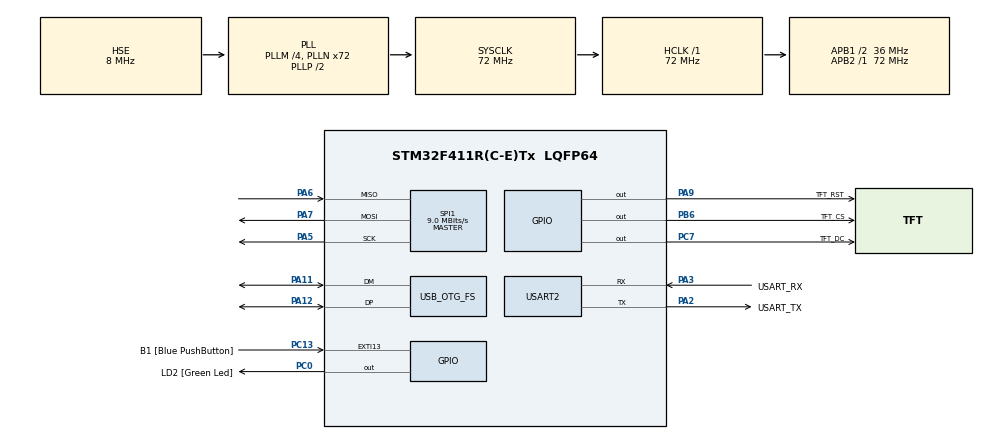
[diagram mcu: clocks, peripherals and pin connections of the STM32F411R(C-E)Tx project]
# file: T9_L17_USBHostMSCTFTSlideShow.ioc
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FATFS._USE_FIND=1
FATFS._USE_LFN=1
Mcu.Family=STM32F4
Mcu.Name=STM32F411R(C-E)Tx
Mcu.Package=LQFP64
NVIC.OTG_FS_IRQn=true\:0\:0\:false\:false\:true\:false\:true
NVIC.PriorityGroup=NVIC_PRIORITYGROUP_0
PA11.Mode=Host_Only
PA11.Signal=USB_OTG_FS_DM
PA12.Mode=Host_Only
PA12.Signal=USB_OTG_FS_DP
PA13.GPIO_Label=TMS
PA13.Mode=Serial_Wire
PA13.Signal=SYS_JTMS-SWDIO
PA14.GPIO_Label=TCK
PA14.Mode=Serial_Wire
PA14.Signal=SYS_JTCK-SWCLK
PA2.GPIO_Label=USART_TX
PA2.Mode=Asynchronous
PA2.Signal=USART2_TX
PA3.GPIO_Label=USART_RX
PA3.Mode=Asynchronous
PA3.Signal=USART2_RX
PA5.Mode=Full_Duplex_Master
PA5.Signal=SPI1_SCK
PA6.Mode=Full_Duplex_Master
PA6.Signal=SPI1_MISO
PA7.Mode=Full_Duplex_Master
PA7.Signal=SPI1_MOSI
PA9.GPIO_Label=TFT_RST
PA9.Signal=GPIO_Output
PB3.GPIO_Label=SWO
PB3.Signal=SYS_JTDO-SWO
PB6.GPIO_Label=TFT_CS
PB6.Signal=GPIO_Output
PC0.GPIO_Label=LD2 [Green Led]
PC0.Signal=GPIO_Output
PC13-ANTI_TAMP.GPIO_Label=B1 [Blue PushButton]
PC13-ANTI_TAMP.GPIO_ModeDefaultEXTI=GPIO_MODE_IT_FALLING
PC13-ANTI_TAMP.Signal=GPXTI13
PC14-OSC32_IN.Mode=LSE-External-Oscillator
PC14-OSC32_IN.Signal=RCC_OSC32_IN
PC15-OSC32_OUT.Mode=LSE-External-Oscillator
PC15-OSC32_OUT.Signal=RCC_OSC32_OUT
PC7.GPIO_Label=TFT_DC
PC7.Signal=GPIO_Output
PH0\ -\ OSC_IN.Mode=HSE-External-Clock-Source
PH0\ -\ OSC_IN.Signal=RCC_OSC_IN
PH1\ -\ OSC_OUT.Mode=HSE-External-Clock-Source
PH1\ -\ OSC_OUT.Signal=RCC_OSC_OUT
ProjectManager.HeapSize=0x800
ProjectManager.StackSize=0x1000
ProjectManager.TargetToolchain=STM32CubeIDE
RCC.48MHZClocksFreq_Value=48000000
RCC.AHBFreq_Value=72000000
RCC.APB1CLKDivider=RCC_HCLK_DIV2
RCC.APB1Freq_Value=36000000
RCC.APB1TimFreq_Value=72000000
RCC.APB2Freq_Value=72000000
RCC.APB2TimFreq_Value=72000000
RCC.CortexFreq_Value=72000000
RCC.FLatency-AdvancedSettings=FLASH_LATENCY_2
RCC.HCLKFreq_Value=72000000
RCC.HSE_VALUE=8000000
RCC.HSI_VALUE=16000000
RCC.PLLM=4
RCC.PLLN=72
RCC.PLLQ=3
RCC.SYSCLKFreq_VALUE=72000000
RCC.SYSCLKSource=RCC_SYSCLKSOURCE_PLLCLK
RCC.VCOOutputFreq_Value=144000000
SPI1.BaudRatePrescaler=SPI_BAUDRATEPRESCALER_8
SPI1.CalculateBaudRate=9.0 MBits/s
SPI1.Direction=SPI_DIRECTION_2LINES
SPI1.Mode=SPI_MODE_MASTER
SPI1.VirtualType=VM_MASTER
USART2.VirtualMode=VM_ASYNC
USB_HOST.USBH_HandleTypeDef=hUsbHostFS
USB_HOST.VirtualModeFS=Msc
USB_OTG_FS.VirtualMode=Host_Only
USB_OTG_FS.phy_itface=HCD_PHY_EMBEDDED
VP_FATFS_VS_USB.Mode=USB
VP_LIBJPEG_VS_JPEGLIB.Mode=Enabled
VP_USB_HOST_VS_USB_HOST_MSC_FS.Mode=MSC_FS
board=NUCLEO-F411RE

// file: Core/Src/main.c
/* USER CODE BEGIN Header */
/**
  ******************************************************************************
  * @file           : main.c
  * @brief          : Main program body
  ******************************************************************************
  * @attention
  *
  * Copyright (c) 2022 STMicroelectronics.
  * All rights reserved.
  *
  * This software is licensed under terms that can be found in the LICENSE file
  * in the root directory of this software component.
  * If no LICENSE file comes with this software, it is provided AS-IS.
  *
  ******************************************************************************
  */
/* USER CODE END Header */
#include "main.h"
#include "fatfs.h"
#include "libjpeg.h"
#include "spi.h"
#include "usart.h"
#include "usb_host.h"
#include "gpio.h"

/* USER CODE BEGIN Includes */
#include "stdio.h"
#include "string.h"

#include "TFT_ILI9341.h"
#include "GFX_Color.h"
#include "GFX_EnhancedFonts.h"
/* USER CODE END Includes */

/* USER CODE BEGIN PV */
extern ApplicationTypeDef Appli_state;

extern uint8_t retUSBH;    /* Return value for USBH */
extern char USBHPath[4];   /* USBH logical drive path */
extern FATFS USBHFatFS;    /* File system object for USBH logical drive */
extern FIL USBHFile;       /* File object for USBH */

uint8_t Bytes;
char Data[128];
/* USER CODE END PV */

void SystemClock_Config(void);
void MX_USB_HOST_Process(void);

int main(void)
{

  /* MCU Configuration--------------------------------------------------------*/

  /* Reset of all peripherals, Initializes the Flash interface and the Systick. */
  HAL_Init();

  /* Configure the system clock */
  SystemClock_Config();

  /* Initialize all configured peripherals */
  MX_GPIO_Init();
  MX_USART2_UART_Init();
  MX_USB_HOST_Init();
  MX_FATFS_Init();
  MX_SPI1_Init();
  MX_LIBJPEG_Init();
  /* USER CODE BEGIN 2 */
  ILI9341_Init(&hspi1);
  ILI9341_ClearDisplay(ILI9341_CYAN);
  uint32_t Timer = HAL_GetTick();
  /* USER CODE END 2 */

  /* Infinite loop */
  /* USER CODE BEGIN WHILE */
  while (1)
  {
	  switch(Appli_state) {
	  case APPLICATION_IDLE:

		  break;
	  case APPLICATION_START:
		  retUSBH = f_mount(&USBHFatFS, (const TCHAR*)USBHPath, 0);
		  if(retUSBH != FR_OK)
		  {
		  	  Bytes = sprintf(Data, "FatFS mount error.\n\r");
		  	  HAL_UART_Transmit(&huart2, (uint8_t*)Data, Bytes, 1000);
		  }
		  else
		  {
			  Bytes = sprintf(Data, "FatFS mounted.\n\r");
			  HAL_UART_Transmit(&huart2, (uint8_t*)Data, Bytes, 1000);
		  }
		  break;
	  case APPLICATION_READY:
		  if(((HAL_GetTick() - Timer) > 1000) && (retUSBH == FR_OK))
		  {
			  Timer = HAL_GetTick();
			  DIR dj;         /* Directory object */
			  FILINFO fno;    /* File information */

			  retUSBH = f_findfirst(&dj, &fno, "", "*.jpg");  /* Start to search for photo files */

			  while (retUSBH == FR_OK && fno.fname[0])
			  {         /* Repeat while an item is found */
				  ILI9341_DrawJPEG(0, 0, fno.fname);
				  retUSBH = f_findnext(&dj, &fno);               /* Search for next item */
				  HAL_Delay(1000);
			  }
			  f_closedir(&dj);
		  }
		  break;
	  case APPLICATION_DISCONNECT:

		  break;
	  default:
		  break;
	  }

    /* USER CODE END WHILE */
    MX_USB_HOST_Process();

  }
}

void SystemClock_Config(void)
{
  RCC_OscInitTypeDef RCC_OscInitStruct = {0};
  RCC_ClkInitTypeDef RCC_ClkInitStruct = {0};

  /** Configure the main internal regulator output voltage
  */
  __HAL_RCC_PWR_CLK_ENABLE();
  __HAL_PWR_VOLTAGESCALING_CONFIG(PWR_REGULATOR_VOLTAGE_SCALE1);
  /** Initializes the RCC Oscillators according to the specified parameters
  * in the RCC_OscInitTypeDef structure.
  */
  RCC_OscInitStruct.OscillatorType = RCC_OSCILLATORTYPE_HSE;
  RCC_OscInitStruct.HSEState = RCC_HSE_BYPASS;
  RCC_OscInitStruct.PLL.PLLState = RCC_PLL_ON;
  RCC_OscInitStruct.PLL.PLLSource = RCC_PLLSOURCE_HSE;
  RCC_OscInitStruct.PLL.PLLM = 4;
  RCC_OscInitStruct.PLL.PLLN = 72;
  RCC_OscInitStruct.PLL.PLLP = RCC_PLLP_DIV2;
  RCC_OscInitStruct.PLL.PLLQ = 3;
  if (HAL_RCC_OscConfig(&RCC_OscInitStruct) != HAL_OK)
  {
    Error_Handler();
  }
  /** Initializes the CPU, AHB and APB buses clocks
  */
  RCC_ClkInitStruct.ClockType = RCC_CLOCKTYPE_HCLK|RCC_CLOCKTYPE_SYSCLK
                              |RCC_CLOCKTYPE_PCLK1|RCC_CLOCKTYPE_PCLK2;
  RCC_ClkInitStruct.SYSCLKSource = RCC_SYSCLKSOURCE_PLLCLK;
  RCC_ClkInitStruct.AHBCLKDivider = RCC_SYSCLK_DIV1;
  RCC_ClkInitStruct.APB1CLKDivider = RCC_HCLK_DIV2;
  RCC_ClkInitStruct.APB2CLKDivider = RCC_HCLK_DIV1;

  if (HAL_RCC_ClockConfig(&RCC_ClkInitStruct, FLASH_LATENCY_2) != HAL_OK)
  {
    Error_Handler();
  }
}

void Error_Handler(void)
{
  __disable_irq();
  while (1)
  {
  }
}
